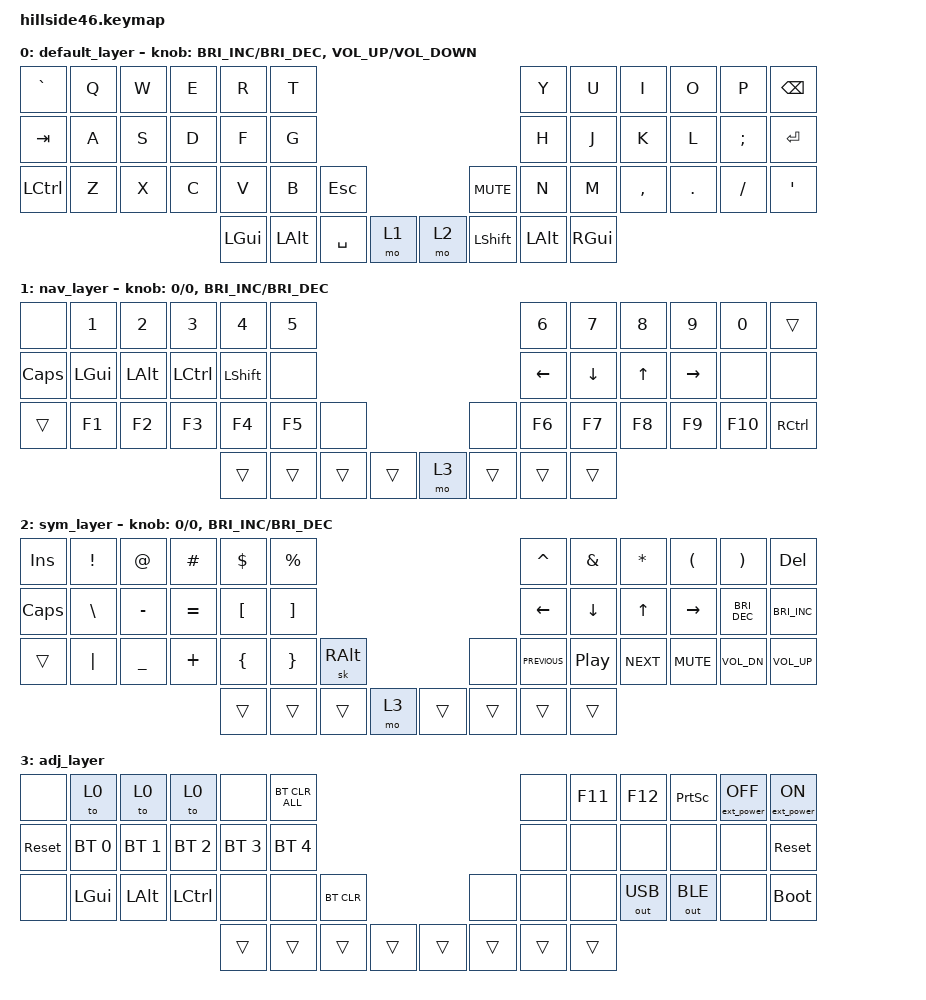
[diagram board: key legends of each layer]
/*
 * Copyright (c) 2021-2022 The ZMK Contributors
 *
 * SPDX-License-Identifier: MIT
 */

#include <behaviors.dtsi>
#include <dt-bindings/zmk/bt.h>
#include <dt-bindings/zmk/ext_power.h>
#include <dt-bindings/zmk/keys.h>
#include <dt-bindings/zmk/outputs.h>

#define QWERTY_L 0
#define DVORAK_L 1
#define COLEMK_L 2
#define NAV_L    3
#define SYM_L    4
#define ADJ_L    5
#define Undo   LC(Z)
#define Cut    LC(X)
#define Copy   LC(C)
#define Paste  LC(V)
#define Redo   LC(Y)

/ {
    keymap {
        compatible = "zmk,keymap";

        default_layer {
            /* QWERTY
 * -------------------------------------------------------------------------------------------------------------------------------------
 * | `     |   Q   |   W   |   E   |   R   |   T   |-----------------------------------|   Y   |   U   |   I   |   O   |   P   | BKSPC |
 * | TAB   |   A   |   S   |   D   |   F   |   G   |-----------------------------------|   H   |   J   |   K   |   L   |   ;   | ENTER |
 * | CTRL  |   Z   |   X   |   C   |   V   |   B   |  ESC  |-------------------|  CAPS |   N   |   M   |   ,   |   .   |   /   |   '   |
 *                                 |  GUI  |  ALT  |SK SHFT|  Nav  |---|  Sym  | SPACE |  ALT  |  GUI  |
 */

            bindings = <
&kp GRAVE  &kp Q  &kp W  &kp E  &kp R     &kp T                                               &kp Y     &kp U     &kp I      &kp O    &kp P      &kp BSPC
&kp TAB    &kp A  &kp S  &kp D  &kp F     &kp G                                               &kp H     &kp J     &kp K      &kp L    &kp SEMI   &kp ENTER
&kp LCTRL  &kp Z  &kp X  &kp C  &kp V     &kp B     &kp ESCAPE                &kp K_MUTE      &kp N     &kp M     &kp COMMA  &kp DOT  &kp SLASH  &kp SQT
                                &kp LGUI  &kp LALT  &kp SPACE   &mo 1  &mo 2  &kp LEFT_SHIFT  &kp LALT  &kp RGUI
            >;

            sensor-bindings =
                <&inc_dec_kp C_BRIGHTNESS_INC C_BRIGHTNESS_DEC>,
                <&inc_dec_kp K_VOLUME_UP K_VOLUME_DOWN>;
        };

        nav_layer {
            /* NAV   
 * -------------------------------------------------------------------------------------------------------------------------------------
 * | Copy  |   1   |   2   |   3   |   4   |   5   |-----------------------------------|   6   |   7   |   8   |   9   |   0   | BSPC  |
 * | Cut   |  GUI  |  Alt  | Ctrl  | Shift | Paste |-----------------------------------| PG UP |  Left |  Up   |  Down | Right | PG DN |
 * | Ctrl  |  F1   |  F2   |  F3   |  F4   |  F5   |  UnDo |-------------------| ReDo  |  F6   |  F7   |  F8   |  F9   |  F10  | Ctrl  |
 *                                 |       |       |       |       |---| ADJ_L |       |       |       |
 */

            bindings = <
&none         &kp N1    &kp N2    &kp N3     &kp N4     &kp N5                                 &kp N6    &kp N7    &kp N8        &kp N9     &kp N0   &trans
&kp CAPSLOCK  &kp LGUI  &kp LALT  &kp LCTRL  &kp LSHFT  &none                                  &kp LEFT  &kp DOWN  &kp UP_ARROW  &kp RIGHT  &none    &none
&trans        &kp F1    &kp F2    &kp F3     &kp F4     &kp F5  &none                  &none   &kp F6    &kp F7    &kp F8        &kp F9     &kp F10  &kp RCTRL
                                             &trans     &trans  &trans  &trans  &mo 3  &trans  &trans    &trans
            >;

            sensor-bindings =
                <&inc_dec_kp 0 0>,
                <&inc_dec_kp C_BRIGHTNESS_INC C_BRIGHTNESS_DEC>;
        };

        sym_layer {
            /* SYM
 * -------------------------------------------------------------------------------------------------------------------------------------
 * | INS   |   !   |   @   |   #   |   $   |   %   |-----------------------------------|   ^   |   &   |   *   |   (   |   )   | BSPC  |
 * |       |   \   |   -   |   =   |   [   |   ]   |-----------------------------------| HOME  | Shift | Ctrl  | Alt   | Gui   | END   |
 * | Ctrl  |   |   |   _   |   +   |   {   |   }   |SkAltGr|-------------------| MENU  | Mute  | Vol-  | Vol+  | Play  |       | Ctrl  |
 *                                 |       |       |       |  ADJ_L |---|      |       |       |       |
 */

            bindings = <
&kp INS       &kp EXCL  &kp AT     &kp HASH   &kp DOLLAR  &kp PERCENT                                   &kp CARET       &kp AMPS          &kp ASTRK     &kp LPAR    &kp RPAR              &kp DEL
&kp CAPSLOCK  &kp BSLH  &kp MINUS  &kp EQUAL  &kp LBKT    &kp RBKT                                      &kp LEFT        &kp DOWN          &kp UP_ARROW  &kp RIGHT   &kp C_BRIGHTNESS_DEC  &kp C_BRIGHTNESS_INC
&trans        &kp PIPE  &kp UNDER  &kp PLUS   &kp LBRC    &kp RBRC     &sk RALT                 &none   &kp C_PREVIOUS  &kp C_PLAY_PAUSE  &kp C_NEXT    &kp K_MUTE  &kp C_VOL_DN          &kp C_VOLUME_UP
                                              &trans      &trans       &trans    &mo 3  &trans  &trans  &trans          &trans
            >;

            sensor-bindings =
                <&inc_dec_kp 0 0>,
                <&inc_dec_kp C_BRIGHTNESS_INC C_BRIGHTNESS_DEC>;
        };

        adj_layer {
            /* ADJUST
 * -------------------------------------------------------------------------------------------------------------------------------------
 * |       | QWERTY| DVORAK| COLEMK|       |       |-----------------------------------|       |  F11  |  F12  |Prt Scr|EP_OFF | EP_ON |
 * | RESET | BT 0  | BT 1  | BT 2  | BT 3  | BT 4  |-----------------------------------|       |       |       |       |       | RESET |
 * |       | LGUI  | LALT  | LCTRL | LSHIFT|       |BT CLR |-------------------|       |       |       |OUT_USB|OUT_BLE|       | BOOTL |
 *                                 |       |       |       |       |---|       |       |       |       |
 */

            bindings = <
&none       &to 0         &to 0         &to 0         &none         &bt BT_CLR_ALL                                      &none   &kp F11  &kp F12       &kp PRINTSCREEN  &ext_power EP_OFF  &ext_power EP_ON
&sys_reset  &bt BT_SEL 0  &bt BT_SEL 1  &bt BT_SEL 2  &bt BT_SEL 3  &bt BT_SEL 4                                        &none   &none    &none         &none            &none              &sys_reset
&none       &kp LGUI      &kp LALT      &kp LCTRL     &none         &none           &bt BT_CLR                  &none   &none   &none    &out OUT_USB  &out OUT_BLE     &none              &bootloader
                                                      &trans        &trans          &trans      &trans  &trans  &trans  &trans  &trans
            >;
        };
    };
};
